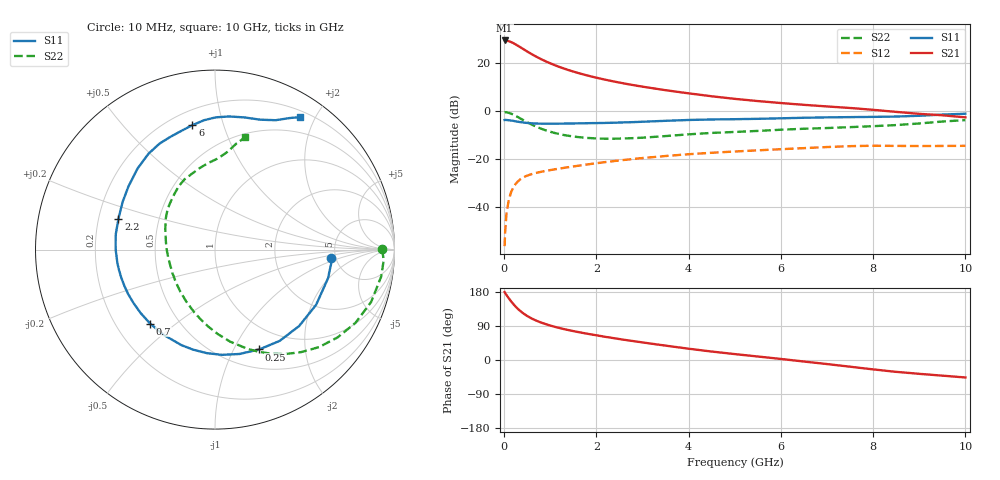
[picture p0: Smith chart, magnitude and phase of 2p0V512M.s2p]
! (c) 2009  Infineon Technologies AG, Munich
! Infineon Technologies  Discrete & RF Semiconductors
! BFP420
! VCE =  0.5 V,  IC =  12 mA
! Common Emitter S-Parameters:  Nov 2009
# GHz  S  MA  R  50
!  f  S11  S21  S12  S22
! GHz  MAG  ANG  MAG  ANG  MAG  ANG  MAG  ANG
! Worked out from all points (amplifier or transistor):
!   46 points, 10 MHz to 10 GHz, reference 50 ohm
!   highest |S21| = 29.5 dB at 10 MHz (marker M1)
!   |S21| within 3 dB of that: start of sweep to 364.8 MHz
!   unconditionally stable (mu >= 1): 2.063 GHz to end of sweep
!   at 300 MHz: K = 0.24, MSG = 28.3 dB, |S12| = -29.4 dB
!   at 1.7 GHz: K = 0.91, MSG = 19.0 dB, |S12| = -22.6 dB
!   at 10 GHz: K = 1.05, MAG = 4.5 dB, |S12| = -14.6 dB
!   lowest NFmin = 0.95 dB at 900 MHz
!   S11 on the Smith chart (normalised r, x): 10 MHz: 4.58, -0.72; 250 MHz: 0.72, -1.27; 700 MHz: 0.35, -0.41; 2.2 GHz: 0.28, +0.14; 6 GHz: 0.29, +0.79; 10 GHz: 0.28, +1.80
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0.01  0.6491 -4.0  29.83 179.2  0.0015 89.6  0.9314 0.1
0.05  0.6497 -14.2  29.35 171.5  0.0071 84.6  0.9381 -9.2
0.1  0.6419 -28.6  28.82 163.0  0.0138 77.6  0.9176 -18.5
0.15  0.6332 -42.3  27.64 154.8  0.0201 71.6  0.883 -27.5
0.2  0.6233 -54.7  26.23 147.5  0.0254 66.3  0.8402 -35.6
0.25  0.6083 -66.2  24.6 140.7  0.0301 61.8  0.7947 -43.1
0.3  0.5973 -76.8  23.08 134.6  0.034 57.8  0.7464 -49.9
0.35  0.5876 -86.3  21.55 129.3  0.0374 54.5  0.7007 -56.2
0.45  0.5705 -102.4  18.77 120.1  0.0426 49.3  0.618 -67.0
0.6  0.5545 -121.3  15.38 109.3  0.0482 44.3  0.5195 -80.7
0.7  0.5483 -131.2  13.61 103.7  0.0511 42.3  0.4691 -88.4
0.9  0.543 -146.6  10.94 94.7  0.0561 39.8  0.3956 -101.8
1.1  0.5439 -158.4  9.067 87.5  0.0606 38.6  0.3471 -113.6
1.4  0.5491 -172.1  7.152 78.8  0.0673 37.4  0.3036 -129.5
1.7  0.5546 177.1  5.88 71.6  0.0741 36.5  0.2796 -143.2
2.2  0.5644 162.6  4.499 61.0  0.0858 34.4  0.2638 -163.0
3.5  0.6246 133.7  2.724 37.9  0.1148 25.9  0.2997 157.6
5.5  0.6871 106.0  1.614 9.2  0.1509 10.2  0.3843 126.0
6  0.7046 100.3  1.469 2.8  0.1594 6.3  0.4067 119.8
7  0.7371 89.6  1.247 -10.7  0.1768 -2.9  0.4412 107.1
8.5  0.7668 70.7  0.959 -31.3  0.1867 -19.3  0.5086 88.1
10  0.878 57.2  0.738 -46.1  0.1872 -29.5  0.6475 75.0
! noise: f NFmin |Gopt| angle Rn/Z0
0.9  0.95  0.03  -151  0.13
1.8  1.27  0.13  -152  0.12
2.4  1.38  0.13  -160  0.14
3  1.43  0.22  -145  0.13
4  1.58  0.35  -123  0.17
5  2.03  0.43  -103  0.28
6  2.4  0.47  -91  0.43
